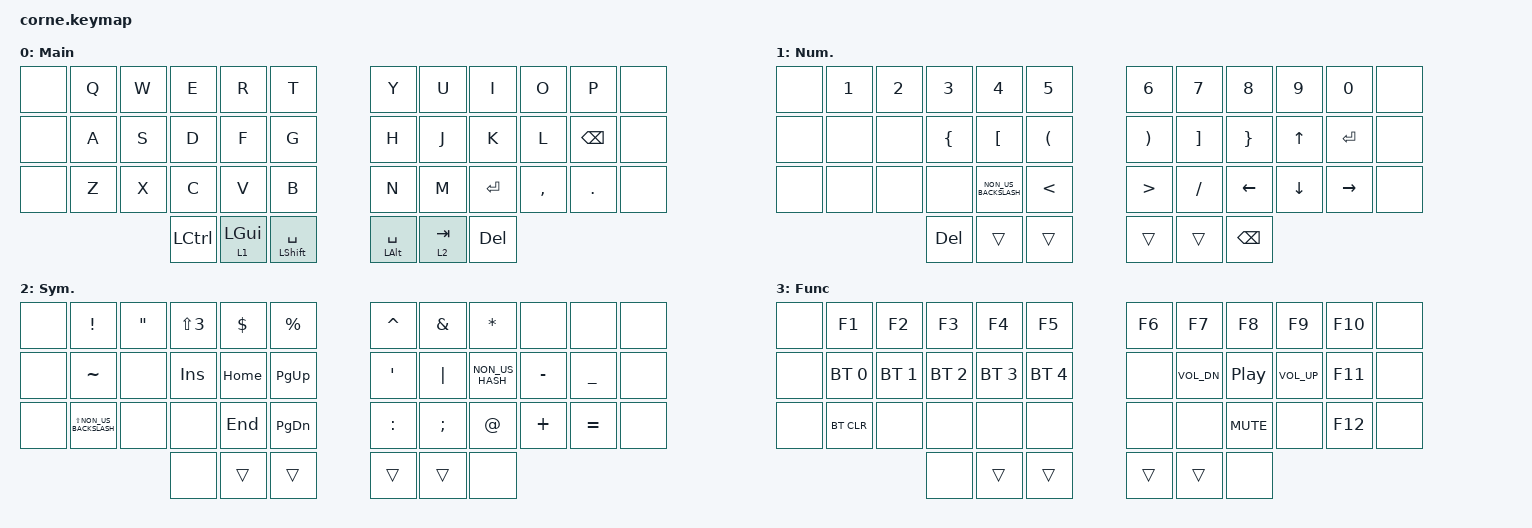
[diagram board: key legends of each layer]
/*
 * Copyright (c) 2020 The ZMK Contributors
 *
 * SPDX-License-Identifier: MIT
 */

#include <behaviors.dtsi>
#include <dt-bindings/zmk/bt.h>
#include <dt-bindings/zmk/keys.h>

/ {
    combos {
        compatible = "zmk,combos";

        Esc {
            bindings = <&kp ESCAPE>;
            key-positions = <5 6>;
        };
    };

    keymap {
        compatible = "zmk,keymap";

        Main {
            bindings = <
&none  &kp Q  &kp W  &kp E      &kp R           &kp T                   &kp Y               &kp U      &kp I    &kp O      &kp P     &none
&none  &kp A  &kp S  &kp D      &kp F           &kp G                   &kp H               &kp J      &kp K    &kp L      &kp BSPC  &none
&none  &kp Z  &kp X  &kp C      &kp V           &kp B                   &kp N               &kp M      &kp RET  &kp COMMA  &kp DOT   &none
                     &kp LCTRL  &lt 1 LEFT_GUI  &mt LEFT_SHIFT SPACE    &mt LEFT_ALT SPACE  &lt 2 TAB  &kp DEL
            >;
        };

        Num. {
            bindings = <
&none  &kp N1  &kp N2  &kp N3          &kp N4                &kp N5                  &kp N6                 &kp N7             &kp N8           &kp N9    &kp N0     &none
&none  &none   &none   &kp LEFT_BRACE  &kp LEFT_BRACKET      &kp LEFT_PARENTHESIS    &kp RIGHT_PARENTHESIS  &kp RIGHT_BRACKET  &kp RIGHT_BRACE  &kp UP    &kp RET    &none
&none  &none   &none   &none           &kp NON_US_BACKSLASH  &kp LESS_THAN           &kp GREATER_THAN       &kp SLASH          &kp LEFT         &kp DOWN  &kp RIGHT  &none
                       &kp DEL         &trans                &trans                  &trans                 &trans             &kp BSPC
            >;
        };

        Sym. {
            bindings = <
&none  &kp EXCLAMATION           &kp DOUBLE_QUOTES  &kp LS(NUMBER_3)  &kp DOLLAR  &kp PERCENT      &kp CARET  &kp AMPERSAND  &kp ASTERISK     &none      &none           &none
&none  &kp TILDE                 &none              &kp INS           &kp HOME    &kp PAGE_UP      &kp SQT    &kp PIPE       &kp NON_US_HASH  &kp MINUS  &kp UNDERSCORE  &none
&none  &kp LS(NON_US_BACKSLASH)  &none              &none             &kp END     &kp PAGE_DOWN    &kp COLON  &kp SEMI       &kp AT_SIGN      &kp PLUS   &kp EQUAL       &none
                                                    &none             &trans      &trans           &trans     &trans         &none
            >;
        };

        Func {
            bindings = <
&none  &kp F1        &kp F2        &kp F3        &kp F4        &kp F5          &kp F6  &kp F7        &kp F8            &kp F9           &kp F10  &none
&none  &bt BT_SEL 0  &bt BT_SEL 1  &bt BT_SEL 2  &bt BT_SEL 3  &bt BT_SEL 4    &none   &kp C_VOL_DN  &kp C_PLAY_PAUSE  &kp C_VOLUME_UP  &kp F11  &none
&none  &bt BT_CLR    &none         &none         &none         &none           &none   &none         &kp C_MUTE        &none            &kp F12  &none
                                   &none         &trans        &trans          &trans  &trans        &none
            >;
        };
    };

    conditional_layers {
        compatible = "zmk,conditional-layers";

        Func {
            if-layers = <1 2>;
            then-layer = <3>;
        };
    };
};
